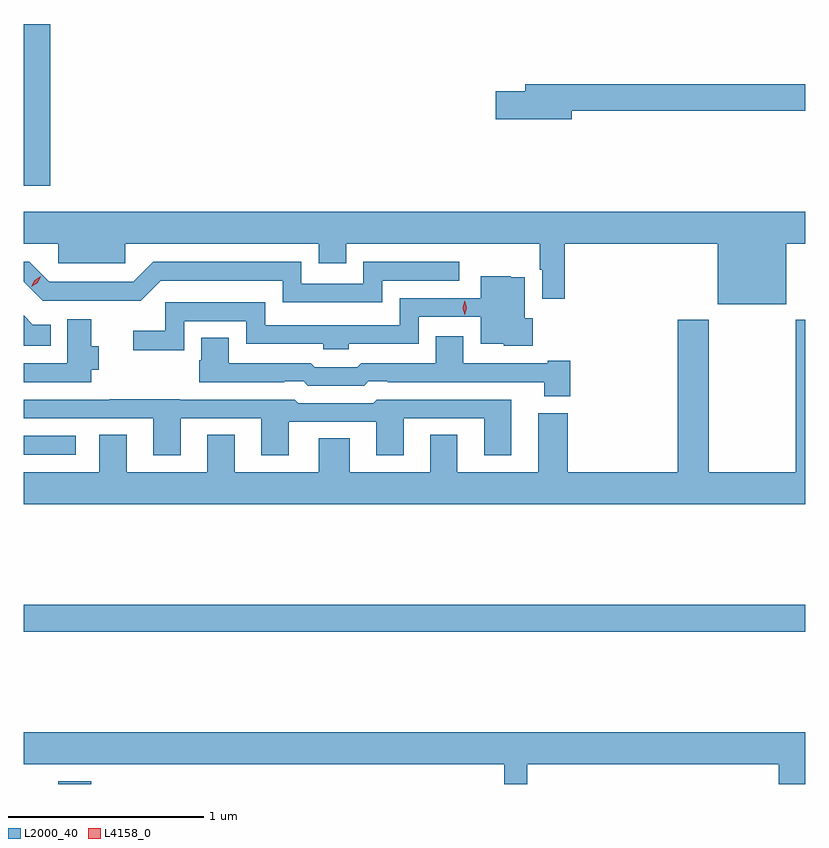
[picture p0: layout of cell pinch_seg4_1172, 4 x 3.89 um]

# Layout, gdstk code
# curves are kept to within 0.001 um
import gdstk
lib = gdstk.Library(unit=1e-6, precision=1e-09)
def R(c, l, rs):  # rectangles x0, y0, x1, y1
    for r in rs: c.add(gdstk.rectangle(r[:2], r[2:], *l))
def P(c, l, *ps):  # polygons
    for p in ps: c.add(gdstk.Polygon(p, *l))
L2000_40 = (2000, 40)
L4158_0 = (4158, 0)

pinch_seg4_1172 = lib.new_cell('pinch_seg4_1172')
R(pinch_seg4_1172, L2000_40, [(554.261,763.42,554.428,763.435), (554.083,764.2,558.083,764.336), (554.083,765.105,554.35,765.201)])
P(pinch_seg4_1172, L2000_40, [(554.219,767.309),(554.083,767.309),(554.083,767.211),(554.084,767.211),(554.084,766.634),(554.083,766.634),(554.083,766.481),(554.219,766.481)],
  [(556.888,766.864),(558.083,766.864),(558.083,767),(556.649,767),(556.649,766.964),(556.5,766.964),(556.5,766.822),(556.888,766.822)],
  [(557.986,766.184),(558.083,766.184),(558.083,766.348),(554.083,766.348),(554.083,766.184),(554.259,766.184),(554.259,766.085),(554.602,766.085),(554.602,766.184),(555.593,766.184),(555.593,766.085),(555.733,766.085),(555.733,766.184),(556.725,766.184),(556.725,766.052),(556.737,766.052),(556.737,765.903),(556.853,765.903),(556.853,766.184),(557.636,766.184),(557.636,765.875),(557.986,765.875)],
  [(555.918,765.996),(556.312,765.996),(556.312,766.092),(555.822,766.092),(555.822,765.981),(555.504,765.981),(555.504,766.092),(554.745,766.092),(554.643,765.99),(554.214,765.99),(554.112,766.092),(554.083,766.092),(554.083,765.991),(554.18,765.894),(554.681,765.893),(554.784,765.996),(555.408,765.996),(555.408,765.885),(555.918,765.885)],
  [(554.904,765.789),(555.222,765.789),(555.222,765.672),(555.615,765.672),(555.615,765.645),(555.747,765.645),(555.747,765.672),(556.104,765.672),(556.104,765.81),(556.421,765.81),(556.421,765.674),(556.539,765.674),(556.539,765.662),(556.688,765.662),(556.688,765.804),(556.648,765.804),(556.648,766.012),(556.575,766.012),(556.575,766.018),(556.421,766.018),(556.421,765.906),(556.008,765.906),(556.008,765.768),(555.318,765.768),(555.318,765.885),(554.808,765.885),(554.808,765.739),(554.643,765.739),(554.643,765.64),(554.904,765.64)],
  [(554.221,765.771),(554.13,765.771),(554.083,765.818),(554.083,765.662),(554.221,765.662)],
  [(554.428,765.539),(554.467,765.539),(554.467,765.661),(554.428,765.661),(554.428,765.799),(554.306,765.799),(554.306,765.573),(554.083,765.573),(554.083,765.477),(554.428,765.477)],
  [(558.083,765.796),(558.034,765.796),(558.034,765.016),(557.589,765.016),(557.589,765.796),(557.429,765.796),(557.429,765.016),(556.868,765.016),(556.868,765.318),(556.715,765.318),(556.715,765.016),(556.303,765.016),(556.303,765.206),(556.163,765.206),(556.163,765.016),(555.751,765.016),(555.751,765.188),(555.593,765.188),(555.593,765.016),(555.163,765.016),(555.163,765.206),(555.023,765.206),(555.023,765.016),(554.611,765.016),(554.611,765.206),(554.471,765.206),(554.471,765.016),(554.083,765.016),(554.083,764.852),(558.083,764.852)],
  [(556.879,765.586),(556.766,765.586),(556.766,765.573),(556.333,765.573),(556.333,765.712),(556.193,765.712),(556.193,765.573),(555.81,765.573),(555.789,765.552),(555.573,765.552),(555.552,765.573),(555.133,765.573),(555.133,765.704),(554.993,765.704),(554.993,765.588),(554.981,765.588),(554.981,765.477),(555.416,765.477),(555.416,765.48),(555.516,765.48),(555.537,765.459),(555.825,765.459),(555.846,765.48),(555.946,765.48),(555.946,765.477),(556.748,765.477),(556.748,765.403),(556.879,765.403)],
  [(554.887,765.291),(555.299,765.291),(555.299,765.101),(555.439,765.101),(555.439,765.273),(555.887,765.273),(555.887,765.101),(556.027,765.101),(556.027,765.291),(556.439,765.291),(556.439,765.101),(556.579,765.101),(556.579,765.387),(555.891,765.387),(555.873,765.369),(555.489,765.369),(555.471,765.387),(554.883,765.387),(554.883,765.39),(554.524,765.39),(554.524,765.387),(554.083,765.387),(554.083,765.291),(554.747,765.291),(554.747,765.101),(554.887,765.101)],
  [(556.659,763.52),(557.948,763.52),(557.948,763.42),(558.083,763.42),(558.083,763.684),(554.083,763.684),(554.083,763.52),(556.543,763.52),(556.543,763.42),(556.659,763.42)])
P(pinch_seg4_1172, L4158_0, [(556.34,765.821),(556.34,765.821),(556.33,765.857),(556.34,765.892),(556.34,765.892),(556.341,765.892),(556.35,765.857),(556.341,765.821)],
  [(554.122,765.965),(554.122,765.965),(554.139,765.999),(554.17,766.019),(554.17,766.019),(554.17,766.018),(554.154,765.985),(554.122,765.965)])

lib.write_gds('pinch_seg4_1172.gds')
